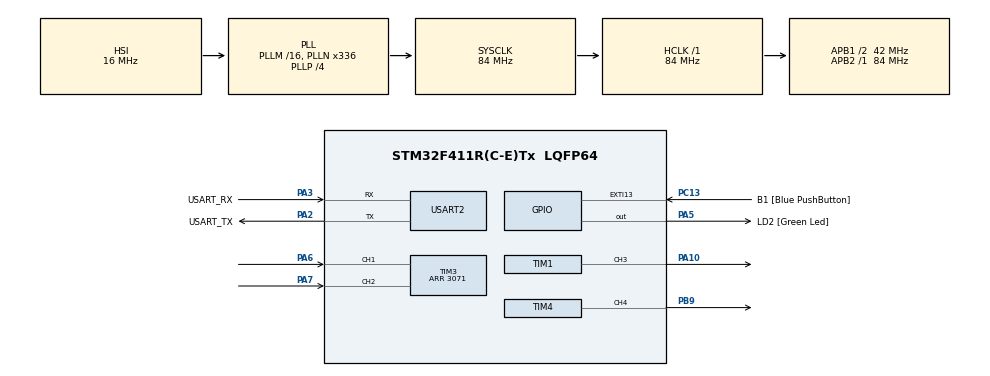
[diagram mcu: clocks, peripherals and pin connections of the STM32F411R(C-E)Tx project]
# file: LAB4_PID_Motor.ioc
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Mcu.Family=STM32F4
Mcu.Name=STM32F411R(C-E)Tx
Mcu.Package=LQFP64
NVIC.PriorityGroup=NVIC_PRIORITYGROUP_0
NVIC.TIM5_IRQn=true\:0\:0\:false\:false\:true\:true\:true\:true
PA10.Signal=S_TIM1_CH3
PA13.GPIO_Label=TMS
PA13.Mode=Trace_Asynchronous_SW
PA13.Signal=SYS_JTMS-SWDIO
PA14.GPIO_Label=TCK
PA14.Mode=Trace_Asynchronous_SW
PA14.Signal=SYS_JTCK-SWCLK
PA2.GPIO_Label=USART_TX
PA2.Mode=Asynchronous
PA2.Signal=USART2_TX
PA3.GPIO_Label=USART_RX
PA3.Mode=Asynchronous
PA3.Signal=USART2_RX
PA5.GPIO_Label=LD2 [Green Led]
PA5.Signal=GPIO_Output
PA6.Signal=S_TIM3_CH1
PA7.Signal=S_TIM3_CH2
PB3.GPIO_Label=SWO
PB3.Mode=Trace_Asynchronous_SW
PB3.Signal=SYS_JTDO-SWO
PB9.Signal=S_TIM4_CH4
PC13-ANTI_TAMP.GPIO_Label=B1 [Blue PushButton]
PC13-ANTI_TAMP.GPIO_ModeDefaultEXTI=GPIO_MODE_IT_FALLING
PC13-ANTI_TAMP.Signal=GPXTI13
PC14-OSC32_IN.Mode=LSE-External-Oscillator
PC14-OSC32_IN.Signal=RCC_OSC32_IN
PC15-OSC32_OUT.Mode=LSE-External-Oscillator
PC15-OSC32_OUT.Signal=RCC_OSC32_OUT
PH0\ -\ OSC_IN.Mode=HSE-External-Clock-Source
PH0\ -\ OSC_IN.Signal=RCC_OSC_IN
PH1\ -\ OSC_OUT.Mode=HSE-External-Clock-Source
PH1\ -\ OSC_OUT.Signal=RCC_OSC_OUT
ProjectManager.HeapSize=0x200
ProjectManager.StackSize=0x400
ProjectManager.TargetToolchain=STM32CubeIDE
RCC.48MHZClocksFreq_Value=84000000
RCC.AHBFreq_Value=84000000
RCC.APB1CLKDivider=RCC_HCLK_DIV2
RCC.APB1Freq_Value=42000000
RCC.APB1TimFreq_Value=84000000
RCC.APB2Freq_Value=84000000
RCC.APB2TimFreq_Value=84000000
RCC.CortexFreq_Value=84000000
RCC.FLatency-AdvancedSettings=FLASH_LATENCY_2
RCC.HCLKFreq_Value=84000000
RCC.HSE_VALUE=8000000
RCC.HSI_VALUE=16000000
RCC.PLLN=336
RCC.PLLP=RCC_PLLP_DIV4
RCC.SYSCLKFreq_VALUE=84000000
RCC.SYSCLKSource=RCC_SYSCLKSOURCE_PLLCLK
RCC.VCOOutputFreq_Value=336000000
SH.S_TIM1_CH3.0=TIM1_CH3,PWM Generation3 CH3
SH.S_TIM3_CH1.0=TIM3_CH1,Encoder_Interface
SH.S_TIM3_CH2.0=TIM3_CH2,Encoder_Interface
SH.S_TIM4_CH4.0=TIM4_CH4,PWM Generation4 CH4
TIM1.Channel-PWM\ Generation3\ CH3=TIM_CHANNEL_3
TIM1.Period=499
TIM1.Prescaler=83
TIM3.EncoderMode=TIM_ENCODERMODE_TI12
TIM3.Period=3071
TIM4.Channel-PWM\ Generation4\ CH4=TIM_CHANNEL_4
TIM4.Period=499
TIM4.Prescaler=83
TIM4.Pulse-PWM\ Generation4\ CH4=0
TIM5.Prescaler=83
USART2.VirtualMode=VM_ASYNC
VP_TIM1_VS_ClockSourceINT.Mode=Internal
VP_TIM4_VS_ClockSourceINT.Mode=Internal
VP_TIM5_VS_ClockSourceINT.Mode=Internal
board=NUCLEO-F411RE

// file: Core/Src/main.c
/* USER CODE BEGIN Header */
/**
  ******************************************************************************
  * @file           : main.c
  * @brief          : Main program body
  ******************************************************************************
  * @attention
  *
  * Copyright (c) 2023 STMicroelectronics.
  * All rights reserved.
  *
  * This software is licensed under terms that can be found in the LICENSE file
  * in the root directory of this software component.
  * If no LICENSE file comes with this software, it is provided AS-IS.
  *
  ******************************************************************************
  */
/* USER CODE END Header */
#include "main.h"

TIM_HandleTypeDef htim1;
TIM_HandleTypeDef htim3;
TIM_HandleTypeDef htim4;
TIM_HandleTypeDef htim5;

UART_HandleTypeDef huart2;

/* USER CODE BEGIN PV */
typedef struct _QEIStructure
{
	float Position[2];
	float p0[2];
	uint64_t timestamp[2];
}QEIStructureTypeDef;
QEIStructureTypeDef QEIData = {0};

uint64_t _micros = 0;
float DutyCycle;
float maxPosition;
float ReferencePosition;
float kp = 20;
float ki;
float kd;
float pout;
float Unwrap;
int turn;

/* USER CODE END PV */

void SystemClock_Config(void);
static void MX_GPIO_Init(void);
static void MX_USART2_UART_Init(void);
static void MX_TIM3_Init(void);
static void MX_TIM5_Init(void);
static void MX_TIM1_Init(void);
static void MX_TIM4_Init(void);
/* USER CODE BEGIN PFP */
inline uint64_t micros();
void Unwrapped_Signal();
float Velocity_Approximation();
float PIDControl();
/* USER CODE END PFP */

int main(void)
{

  /* MCU Configuration--------------------------------------------------------*/

  /* Reset of all peripherals, Initializes the Flash interface and the Systick. */
  HAL_Init();

  /* Configure the system clock */
  SystemClock_Config();

  /* Initialize all configured peripherals */
  MX_GPIO_Init();
  MX_USART2_UART_Init();
  MX_TIM3_Init();
  MX_TIM5_Init();
  MX_TIM1_Init();
  MX_TIM4_Init();
  /* USER CODE BEGIN 2 */
  HAL_TIM_Encoder_Start(&htim3, TIM_CHANNEL_1|TIM_CHANNEL_2);
  HAL_TIM_Base_Start(&htim5);
  HAL_TIM_Base_Start(&htim1);
  HAL_TIM_PWM_Start(&htim1, TIM_CHANNEL_3);
  HAL_TIM_Base_Start(&htim4);
  HAL_TIM_PWM_Start(&htim4, TIM_CHANNEL_4);
  /* USER CODE END 2 */

  /* Infinite loop */
  while (1)
  {

    /* USER CODE BEGIN 3 */
	static uint64_t timestamp = 0;
	int64_t currentTime = micros();
	if(currentTime>timestamp)
	{
		timestamp = currentTime + 10000;
		Unwrapped_Signal();
//		QEIData.QEIVelocity = Velocity_Approximation();
		DutyCycle = PIDControl();
		if(turn == 0)
		{
			__HAL_TIM_SET_COMPARE(&htim1,TIM_CHANNEL_3,DutyCycle*5);
			__HAL_TIM_SET_COMPARE(&htim4,TIM_CHANNEL_4,0);
		}
		if(turn == 1)
		{
			__HAL_TIM_SET_COMPARE(&htim4,TIM_CHANNEL_4,DutyCycle*5);
			__HAL_TIM_SET_COMPARE(&htim1,TIM_CHANNEL_3,0);
		}
	}
  }
  /* USER CODE END 3 */
}

void SystemClock_Config(void)
{
  RCC_OscInitTypeDef RCC_OscInitStruct = {0};
  RCC_ClkInitTypeDef RCC_ClkInitStruct = {0};

  /** Configure the main internal regulator output voltage
  */
  __HAL_RCC_PWR_CLK_ENABLE();
  __HAL_PWR_VOLTAGESCALING_CONFIG(PWR_REGULATOR_VOLTAGE_SCALE1);

  /** Initializes the RCC Oscillators according to the specified parameters
  * in the RCC_OscInitTypeDef structure.
  */
  RCC_OscInitStruct.OscillatorType = RCC_OSCILLATORTYPE_HSI;
  RCC_OscInitStruct.HSIState = RCC_HSI_ON;
  RCC_OscInitStruct.HSICalibrationValue = RCC_HSICALIBRATION_DEFAULT;
  RCC_OscInitStruct.PLL.PLLState = RCC_PLL_ON;
  RCC_OscInitStruct.PLL.PLLSource = RCC_PLLSOURCE_HSI;
  RCC_OscInitStruct.PLL.PLLM = 16;
  RCC_OscInitStruct.PLL.PLLN = 336;
  RCC_OscInitStruct.PLL.PLLP = RCC_PLLP_DIV4;
  RCC_OscInitStruct.PLL.PLLQ = 4;
  if (HAL_RCC_OscConfig(&RCC_OscInitStruct) != HAL_OK)
  {
    Error_Handler();
  }

  /** Initializes the CPU, AHB and APB buses clocks
  */
  RCC_ClkInitStruct.ClockType = RCC_CLOCKTYPE_HCLK|RCC_CLOCKTYPE_SYSCLK
                              |RCC_CLOCKTYPE_PCLK1|RCC_CLOCKTYPE_PCLK2;
  RCC_ClkInitStruct.SYSCLKSource = RCC_SYSCLKSOURCE_PLLCLK;
  RCC_ClkInitStruct.AHBCLKDivider = RCC_SYSCLK_DIV1;
  RCC_ClkInitStruct.APB1CLKDivider = RCC_HCLK_DIV2;
  RCC_ClkInitStruct.APB2CLKDivider = RCC_HCLK_DIV1;

  if (HAL_RCC_ClockConfig(&RCC_ClkInitStruct, FLASH_LATENCY_2) != HAL_OK)
  {
    Error_Handler();
  }
}

static void MX_TIM1_Init(void)
{

  TIM_ClockConfigTypeDef sClockSourceConfig = {0};
  TIM_MasterConfigTypeDef sMasterConfig = {0};
  TIM_OC_InitTypeDef sConfigOC = {0};
  TIM_BreakDeadTimeConfigTypeDef sBreakDeadTimeConfig = {0};

  htim1.Instance = TIM1;
  htim1.Init.Prescaler = 83;
  htim1.Init.CounterMode = TIM_COUNTERMODE_UP;
  htim1.Init.Period = 499;
  htim1.Init.ClockDivision = TIM_CLOCKDIVISION_DIV1;
  htim1.Init.RepetitionCounter = 0;
  htim1.Init.AutoReloadPreload = TIM_AUTORELOAD_PRELOAD_DISABLE;
  if (HAL_TIM_Base_Init(&htim1) != HAL_OK)
  {
    Error_Handler();
  }
  sClockSourceConfig.ClockSource = TIM_CLOCKSOURCE_INTERNAL;
  if (HAL_TIM_ConfigClockSource(&htim1, &sClockSourceConfig) != HAL_OK)
  {
    Error_Handler();
  }
  if (HAL_TIM_PWM_Init(&htim1) != HAL_OK)
  {
    Error_Handler();
  }
  sMasterConfig.MasterOutputTrigger = TIM_TRGO_RESET;
  sMasterConfig.MasterSlaveMode = TIM_MASTERSLAVEMODE_DISABLE;
  if (HAL_TIMEx_MasterConfigSynchronization(&htim1, &sMasterConfig) != HAL_OK)
  {
    Error_Handler();
  }
  sConfigOC.OCMode = TIM_OCMODE_PWM1;
  sConfigOC.Pulse = 0;
  sConfigOC.OCPolarity = TIM_OCPOLARITY_HIGH;
  sConfigOC.OCNPolarity = TIM_OCNPOLARITY_HIGH;
  sConfigOC.OCFastMode = TIM_OCFAST_DISABLE;
  sConfigOC.OCIdleState = TIM_OCIDLESTATE_RESET;
  sConfigOC.OCNIdleState = TIM_OCNIDLESTATE_RESET;
  if (HAL_TIM_PWM_ConfigChannel(&htim1, &sConfigOC, TIM_CHANNEL_3) != HAL_OK)
  {
    Error_Handler();
  }
  sBreakDeadTimeConfig.OffStateRunMode = TIM_OSSR_DISABLE;
  sBreakDeadTimeConfig.OffStateIDLEMode = TIM_OSSI_DISABLE;
  sBreakDeadTimeConfig.LockLevel = TIM_LOCKLEVEL_OFF;
  sBreakDeadTimeConfig.DeadTime = 0;
  sBreakDeadTimeConfig.BreakState = TIM_BREAK_DISABLE;
  sBreakDeadTimeConfig.BreakPolarity = TIM_BREAKPOLARITY_HIGH;
  sBreakDeadTimeConfig.AutomaticOutput = TIM_AUTOMATICOUTPUT_DISABLE;
  if (HAL_TIMEx_ConfigBreakDeadTime(&htim1, &sBreakDeadTimeConfig) != HAL_OK)
  {
    Error_Handler();
  }
  HAL_TIM_MspPostInit(&htim1);

}

static void MX_TIM3_Init(void)
{

  TIM_Encoder_InitTypeDef sConfig = {0};
  TIM_MasterConfigTypeDef sMasterConfig = {0};

  htim3.Instance = TIM3;
  htim3.Init.Prescaler = 0;
  htim3.Init.CounterMode = TIM_COUNTERMODE_UP;
  htim3.Init.Period = 3071;
  htim3.Init.ClockDivision = TIM_CLOCKDIVISION_DIV1;
  htim3.Init.AutoReloadPreload = TIM_AUTORELOAD_PRELOAD_DISABLE;
  sConfig.EncoderMode = TIM_ENCODERMODE_TI12;
  sConfig.IC1Polarity = TIM_ICPOLARITY_RISING;
  sConfig.IC1Selection = TIM_ICSELECTION_DIRECTTI;
  sConfig.IC1Prescaler = TIM_ICPSC_DIV1;
  sConfig.IC1Filter = 0;
  sConfig.IC2Polarity = TIM_ICPOLARITY_RISING;
  sConfig.IC2Selection = TIM_ICSELECTION_DIRECTTI;
  sConfig.IC2Prescaler = TIM_ICPSC_DIV1;
  sConfig.IC2Filter = 0;
  if (HAL_TIM_Encoder_Init(&htim3, &sConfig) != HAL_OK)
  {
    Error_Handler();
  }
  sMasterConfig.MasterOutputTrigger = TIM_TRGO_RESET;
  sMasterConfig.MasterSlaveMode = TIM_MASTERSLAVEMODE_DISABLE;
  if (HAL_TIMEx_MasterConfigSynchronization(&htim3, &sMasterConfig) != HAL_OK)
  {
    Error_Handler();
  }

}

static void MX_TIM4_Init(void)
{

  TIM_ClockConfigTypeDef sClockSourceConfig = {0};
  TIM_MasterConfigTypeDef sMasterConfig = {0};
  TIM_OC_InitTypeDef sConfigOC = {0};

  htim4.Instance = TIM4;
  htim4.Init.Prescaler = 83;
  htim4.Init.CounterMode = TIM_COUNTERMODE_UP;
  htim4.Init.Period = 499;
  htim4.Init.ClockDivision = TIM_CLOCKDIVISION_DIV1;
  htim4.Init.AutoReloadPreload = TIM_AUTORELOAD_PRELOAD_DISABLE;
  if (HAL_TIM_Base_Init(&htim4) != HAL_OK)
  {
    Error_Handler();
  }
  sClockSourceConfig.ClockSource = TIM_CLOCKSOURCE_INTERNAL;
  if (HAL_TIM_ConfigClockSource(&htim4, &sClockSourceConfig) != HAL_OK)
  {
    Error_Handler();
  }
  if (HAL_TIM_PWM_Init(&htim4) != HAL_OK)
  {
    Error_Handler();
  }
  sMasterConfig.MasterOutputTrigger = TIM_TRGO_RESET;
  sMasterConfig.MasterSlaveMode = TIM_MASTERSLAVEMODE_DISABLE;
  if (HAL_TIMEx_MasterConfigSynchronization(&htim4, &sMasterConfig) != HAL_OK)
  {
    Error_Handler();
  }
  sConfigOC.OCMode = TIM_OCMODE_PWM1;
  sConfigOC.Pulse = 0;
  sConfigOC.OCPolarity = TIM_OCPOLARITY_HIGH;
  sConfigOC.OCFastMode = TIM_OCFAST_DISABLE;
  if (HAL_TIM_PWM_ConfigChannel(&htim4, &sConfigOC, TIM_CHANNEL_4) != HAL_OK)
  {
    Error_Handler();
  }
  HAL_TIM_MspPostInit(&htim4);

}

static void MX_TIM5_Init(void)
{

  TIM_ClockConfigTypeDef sClockSourceConfig = {0};
  TIM_MasterConfigTypeDef sMasterConfig = {0};

  htim5.Instance = TIM5;
  htim5.Init.Prescaler = 83;
  htim5.Init.CounterMode = TIM_COUNTERMODE_UP;
  htim5.Init.Period = 4294967295;
  htim5.Init.ClockDivision = TIM_CLOCKDIVISION_DIV1;
  htim5.Init.AutoReloadPreload = TIM_AUTORELOAD_PRELOAD_DISABLE;
  if (HAL_TIM_Base_Init(&htim5) != HAL_OK)
  {
    Error_Handler();
  }
  sClockSourceConfig.ClockSource = TIM_CLOCKSOURCE_INTERNAL;
  if (HAL_TIM_ConfigClockSource(&htim5, &sClockSourceConfig) != HAL_OK)
  {
    Error_Handler();
  }
  sMasterConfig.MasterOutputTrigger = TIM_TRGO_RESET;
  sMasterConfig.MasterSlaveMode = TIM_MASTERSLAVEMODE_DISABLE;
  if (HAL_TIMEx_MasterConfigSynchronization(&htim5, &sMasterConfig) != HAL_OK)
  {
    Error_Handler();
  }

}

static void MX_USART2_UART_Init(void)
{

  huart2.Instance = USART2;
  huart2.Init.BaudRate = 115200;
  huart2.Init.WordLength = UART_WORDLENGTH_8B;
  huart2.Init.StopBits = UART_STOPBITS_1;
  huart2.Init.Parity = UART_PARITY_NONE;
  huart2.Init.Mode = UART_MODE_TX_RX;
  huart2.Init.HwFlowCtl = UART_HWCONTROL_NONE;
  huart2.Init.OverSampling = UART_OVERSAMPLING_16;
  if (HAL_UART_Init(&huart2) != HAL_OK)
  {
    Error_Handler();
  }

}

static void MX_GPIO_Init(void)
{
  GPIO_InitTypeDef GPIO_InitStruct = {0};

  /* GPIO Ports Clock Enable */
  __HAL_RCC_GPIOC_CLK_ENABLE();
  __HAL_RCC_GPIOH_CLK_ENABLE();
  __HAL_RCC_GPIOA_CLK_ENABLE();
  __HAL_RCC_GPIOB_CLK_ENABLE();

  /*Configure GPIO pin Output Level */
  HAL_GPIO_WritePin(LD2_GPIO_Port, LD2_Pin, GPIO_PIN_RESET);

  /*Configure GPIO pin : B1_Pin */
  GPIO_InitStruct.Pin = B1_Pin;
  GPIO_InitStruct.Mode = GPIO_MODE_IT_FALLING;
  GPIO_InitStruct.Pull = GPIO_NOPULL;
  HAL_GPIO_Init(B1_GPIO_Port, &GPIO_InitStruct);

  /*Configure GPIO pin : LD2_Pin */
  GPIO_InitStruct.Pin = LD2_Pin;
  GPIO_InitStruct.Mode = GPIO_MODE_OUTPUT_PP;
  GPIO_InitStruct.Pull = GPIO_NOPULL;
  GPIO_InitStruct.Speed = GPIO_SPEED_FREQ_LOW;
  HAL_GPIO_Init(LD2_GPIO_Port, &GPIO_InitStruct);

}

/* USER CODE BEGIN 4 */
void Unwrapped_Signal()
{
	//Change to degree
	QEIData.Position[0] = (__HAL_TIM_GET_COUNTER(&htim3)/3072.0)*360;

	//Find Pmax
	if(QEIData.Position[0] > maxPosition) maxPosition = QEIData.Position[0];

	//Diff Position
	float diffPosition = QEIData.Position[0] - QEIData.Position[1];

	float p0;
	int threshold = 252;

	//Unwrapping
	if(diffPosition <= -(threshold)) QEIData.p0[0] += maxPosition;
	if(diffPosition >= threshold) QEIData.p0[0] -= maxPosition;
	p0 = QEIData.p0[0] + QEIData.p0[1];
	Unwrap = p0 + QEIData.Position[0];

	QEIData.p0[1] = QEIData.p0[0];
	QEIData.Position[1] = QEIData.Position[0];

	//rotation Range
	if(Unwrap > 36000.0)
	{
		Unwrap = 0;
		QEIData.p0[0] = 0;
		QEIData.p0[1] = 0;
	}
	if(Unwrap < -36000.0)
	{
		Unwrap = 0;
		QEIData.p0[0] = 0;
		QEIData.p0[1] = 0;
	}
}

//float Velocity_Approximation()
//{
//	float velo;
//	/*time*/
//	QEIData.timestamp[0] = micros();
//
//	/*Velocity Approximate*/
//	float diffUnwrap = QEIData.unwrap[0] - QEIData.unwrap[1];
//	float diffTime = QEIData.timestamp[0] - QEIData.timestamp[1];
//
//
//
//	velo = (diffUnwrap * 1000000) / diffTime;
//
//	QEIData.unwrap[1] = QEIData.unwrap[0];
//	QEIData.timestamp[1] = QEIData.timestamp[0];
//	return velo;
//}

float PIDControl()
{
	/*Error*/
	float e = ReferencePosition - Unwrap;
	float eprev;

	/*Turn Condition*/
	if(e > 0) turn = 0;
	if(e < 0)
	{
		turn = 1;
		e = -(e);
	}

	/*Diff Time*/
	float diffTime = (QEIData.timestamp[0] - QEIData.timestamp[1])/1000000;
	/*Integral Error*/
	float eintegral = eintegral+e*diffTime;
	/*Differential Error*/
	float edifferential = (e-eprev)/diffTime;

	/*PID Control*/
	float y;
	pout = (kp*e)+(ki*eintegral)+(kd*edifferential);

	eprev = e;
	/*234 velocity max*/
	/*Change to DutyCycle*/
	y = (pout*100)/234.0;
	if(e < -2 || 2 > e) y = 0;
	if(y>100) y = 100;
	if(y<100) y = 0;
	return y;
}

void HAL_TIM_PeriodElapsedCallback(TIM_HandleTypeDef *htim)
{
	if(htim == &htim5)
	{
		_micros += UINT32_MAX;
	}
}

uint64_t micros()
{
	return __HAL_TIM_GET_COUNTER(&htim5)+_micros;
}
/* USER CODE END 4 */

void Error_Handler(void)
{
  __disable_irq();
  while (1)
  {
  }
}
